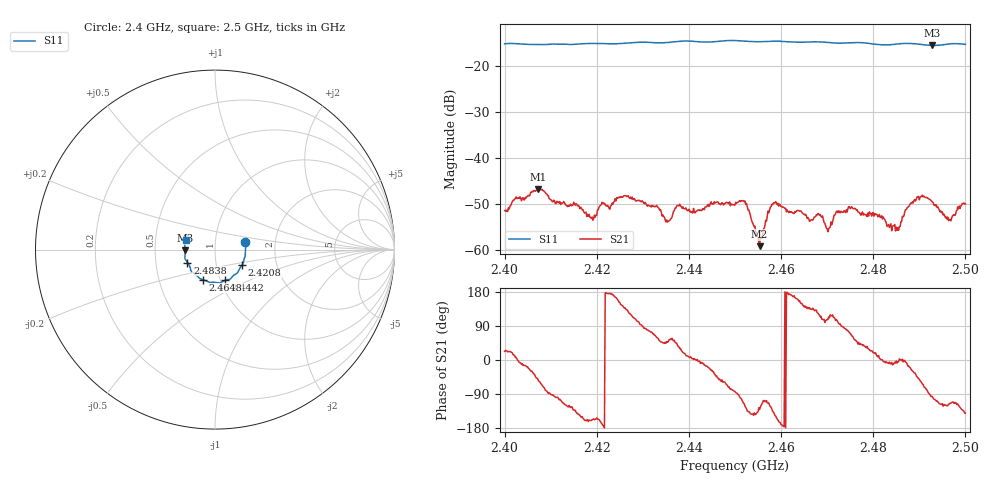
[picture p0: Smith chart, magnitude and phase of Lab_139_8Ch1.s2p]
# Hz S RI R 50
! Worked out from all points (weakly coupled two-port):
!   601 points, 2.4 GHz to 2.5 GHz, reference 50 ohm
!   highest |S21| = -46.73 dB at 2.4073 GHz (marker M1); lowest = -59.1 dB at 2.4553 GHz (marker M2)
!   lowest |S11| = -15.6 dB at 2.4928 GHz (marker M3), VSWR 1.40, Z = 35.8 - j0.347 ohm
!   |S11| at or under -10 dB: start of sweep to end of sweep
!   S12 and S22 are empty: the file has one direction only
!   S11 on the Smith chart (normalised r, x): 2.4 GHz: 1.40, +0.12; 2.4208 GHz: 1.33, -0.24; 2.4442 GHz: 1.05, -0.37; 2.4648 GHz: 0.83, -0.29; 2.4838 GHz: 0.73, -0.11; 2.5 GHz: 0.72, +0.08
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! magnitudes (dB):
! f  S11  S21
! 2.4 GHz  -15.2  -51.4
! 2.4073 GHz  -15.4  -46.7
! 2.4167 GHz  -15.2  -50.9
! 2.4208 GHz  -15.2  -50.2
! 2.4333 GHz  -15.0  -50.8
! 2.4353 GHz  -15.0  -53.9
! 2.4377 GHz  -14.7  -50.3
! 2.4442 GHz  -14.9  -50.1
! 2.45 GHz  -14.5  -50.2
! 2.4522 GHz  -14.7  -49.3
! 2.4553 GHz  -14.8  -59.1
! 2.4585 GHz  -14.7  -49.7
! 2.4648 GHz  -14.9  -52.2
! 2.4667 GHz  -14.8  -53.4
! 2.4702 GHz  -15.0  -56.0
! 2.4752 GHz  -15.0  -50.8
! 2.4833 GHz  -15.5  -54.4
! 2.4838 GHz  -15.4  -54.3
! 2.4893 GHz  -15.3  -49.0
! 2.4928 GHz  -15.6  -49.5
! 2.4965 GHz  -15.3  -53.4
! 2.5 GHz  -15.4  -49.9
